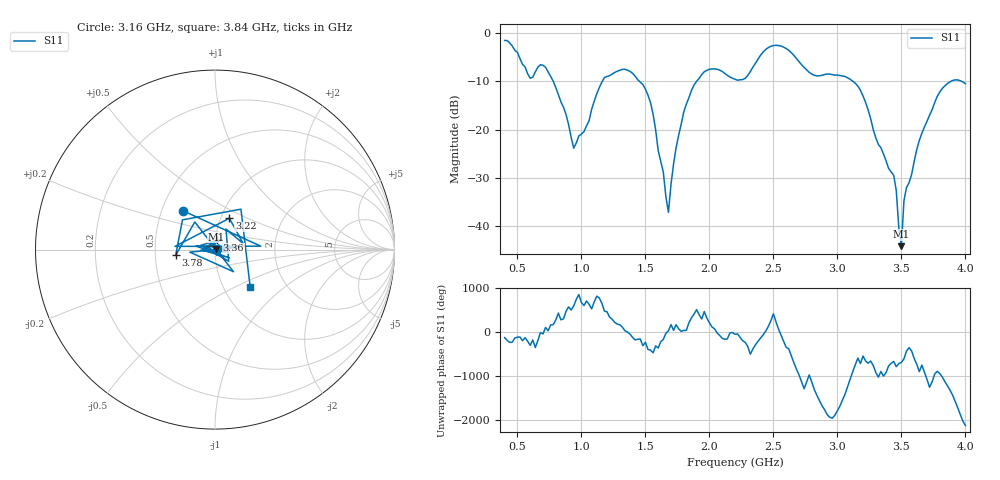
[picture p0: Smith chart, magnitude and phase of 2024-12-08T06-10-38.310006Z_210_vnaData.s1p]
!Created with skrf (http://scikit-rf.org).
# Hz S RI R 50.0
!freq ReS11 ImS11
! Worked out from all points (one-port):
!   181 points, 400 MHz to 4 GHz, reference 50 ohm
!   lowest |S11| = -44.2 dB at 3.5 GHz (marker M1), VSWR 1.01, Z = 50.5 + j0.332 ohm
!   |S11| at or under -10 dB: 780.3 MHz to 1.163 GHz (382.5 MHz wide, 39.4 % of centre); 1.454 GHz to 1.899 GHz (444.9 MHz wide, 26.5 % of centre); 3.122 GHz to 3.886 GHz (763.3 MHz wide, 21.8 % of centre) (the widest 3 of 4)
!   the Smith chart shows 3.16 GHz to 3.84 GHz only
!   S11 on the Smith chart (normalised r, x): 3.16 GHz: 0.64, +0.30; 3.22 GHz: 1.10, +0.40; 3.36 GHz: 1.01, +0.11; 3.78 GHz: 0.64, -0.04; 3.84 GHz: 1.33, -0.60
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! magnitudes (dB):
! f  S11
! 400 MHz  -1.5
! 600 MHz  -9.3
! 720 MHz  -7.1
! 860 MHz  -15.4
! 940 MHz  -23.8
! 1.18 GHz  -9.2
! 1.3 GHz  -7.7
! 1.52 GHz  -12.8
! 1.68 GHz  -37.2
! 1.76 GHz  -21.1
! 1.86 GHz  -11.9
! 1.96 GHz  -8.0
! 2.2 GHz  -9.6
! 2.48 GHz  -2.7
! 2.66 GHz  -4.6
! 2.82 GHz  -8.7
! 3.1 GHz  -9.6
! 3.16 GHz  -11.0
! 3.22 GHz  -14.3
! 3.36 GHz  -25.0
! 3.44 GHz  -29.5
! 3.5 GHz  -44.2
! 3.52 GHz  -34.7
! 3.56 GHz  -31.0
! 3.64 GHz  -22.2
! 3.78 GHz  -13.1
! 3.84 GHz  -10.9
! 4 GHz  -10.5
